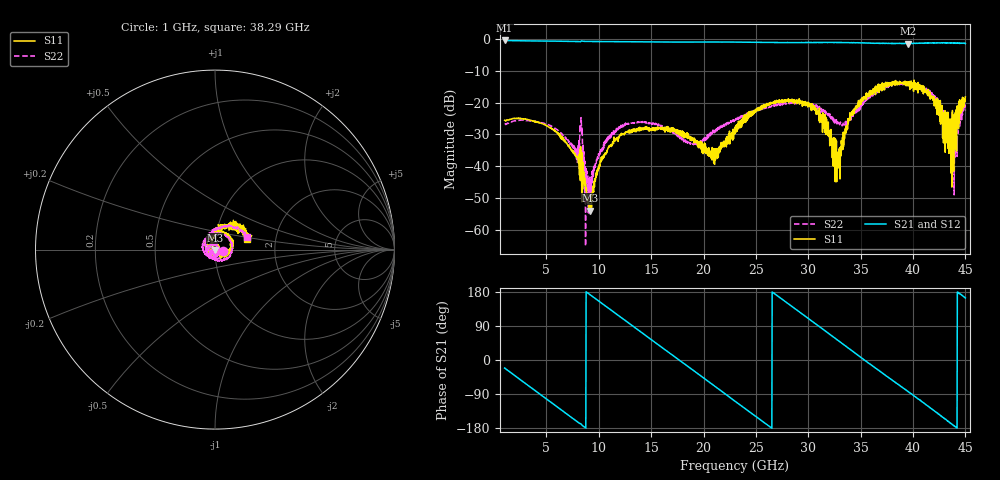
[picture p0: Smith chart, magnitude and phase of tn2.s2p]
!Keysight Technologies,N5247B,MY61255062,A.19.80.06
!Date: Tuesday, May 26, 2026 11:08:28
!Correction: S11(C  2-Port  )
!S21(C  2-Port  )
!S12(C  2-Port  )
!S22(C  2-Port  )
!S2P File: Measurements: S11, S21, S12, S22:
# Hz S  dB  R 50
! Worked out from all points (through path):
!   1601 points, 1 GHz to 45 GHz, reference 50 ohm
!   highest |S21| = -0.47 dB at 1 GHz (marker M1); lowest = -1.5 dB at 39.5 GHz (marker M2)
!   group delay of S21, straight-line fit = 56.4 ps
!   lowest |S11| = -54.0 dB at 9.168 GHz (marker M3), VSWR 1.00, Z = 49.9 - j0.191 ohm
!   |S11| at or under -10 dB: start of sweep to end of sweep
!   |S22| runs from -65.2 to -13.5 dB; largest |S21 - S12| = 0.015
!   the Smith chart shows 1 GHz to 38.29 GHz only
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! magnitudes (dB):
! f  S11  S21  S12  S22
! 1 GHz  -25.6  -0.5  -0.5  -26.6
! 5.537 GHz  -28.4  -0.7  -0.7  -27.5
! 7.93 GHz  -37.0  -0.8  -0.8  -34.3
! 8.342 GHz  -40.5  -0.6  -0.6  -28.4
! 8.783 GHz  -47.8  -0.8  -0.8  -40.8
! 9.168 GHz  -54.0  -0.8  -0.8  -46.6
! 10.1 GHz  -40.0  -0.8  -0.8  -36.3
! 11.53 GHz  -31.7  -0.9  -0.9  -29.4
! 15.69 GHz  -27.8  -0.9  -0.9  -27.2
! 18.93 GHz  -31.7  -1.0  -1.0  -33.1
! 20.94 GHz  -34.5  -1.0  -1.0  -29.3
! 23 GHz  -27.7  -1.0  -1.0  -25.7
! 26.6 GHz  -19.9  -1.1  -1.1  -21.0
! 30.34 GHz  -20.4  -1.1  -1.1  -20.5
! 32.76 GHz  -40.2  -1.1  -1.1  -25.8
! 34.27 GHz  -23.9  -1.1  -1.2  -24.8
! 37.69 GHz  -14.5  -1.4  -1.4  -14.7
! 39.5 GHz  -14.1  -1.5  -1.4  -13.9
! 42.39 GHz  -22.0  -1.2  -1.2  -20.2
! 43.3 GHz  -29.7  -1.2  -1.2  -26.0
! 43.79 GHz  -36.6  -1.2  -1.3  -38.0
! 45 GHz  -18.2  -1.4  -1.4  -22.4
